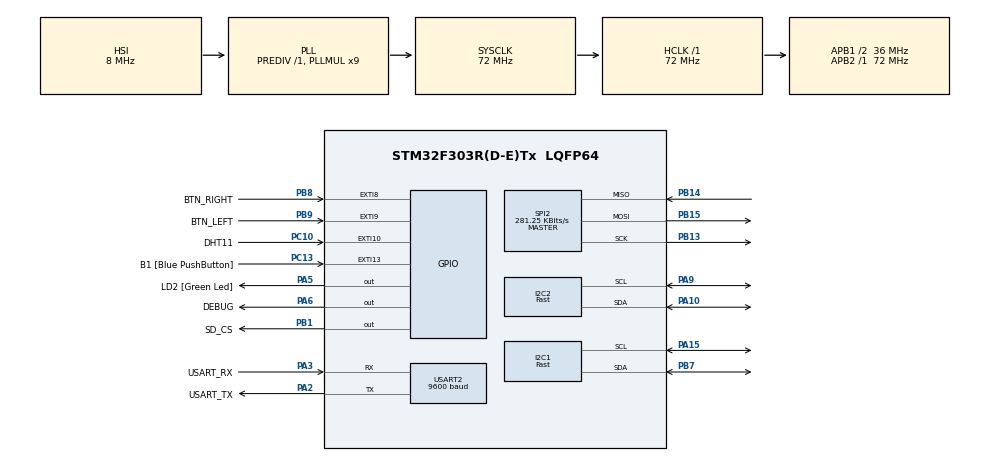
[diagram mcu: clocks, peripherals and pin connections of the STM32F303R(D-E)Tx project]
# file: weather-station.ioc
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Dma.I2C1_TX.1.Direction=DMA_MEMORY_TO_PERIPH
Dma.I2C1_TX.1.Instance=DMA1_Channel6
Dma.I2C1_TX.1.MemDataAlignment=DMA_MDATAALIGN_BYTE
Dma.I2C1_TX.1.MemInc=DMA_MINC_ENABLE
Dma.I2C1_TX.1.Mode=DMA_NORMAL
Dma.I2C1_TX.1.PeriphDataAlignment=DMA_PDATAALIGN_BYTE
Dma.I2C1_TX.1.PeriphInc=DMA_PINC_DISABLE
Dma.I2C1_TX.1.Priority=DMA_PRIORITY_LOW
Dma.I2C2_RX.3.Direction=DMA_PERIPH_TO_MEMORY
Dma.I2C2_RX.3.Instance=DMA1_Channel5
Dma.I2C2_RX.3.MemDataAlignment=DMA_MDATAALIGN_BYTE
Dma.I2C2_RX.3.MemInc=DMA_MINC_ENABLE
Dma.I2C2_RX.3.Mode=DMA_NORMAL
Dma.I2C2_RX.3.PeriphDataAlignment=DMA_PDATAALIGN_BYTE
Dma.I2C2_RX.3.PeriphInc=DMA_PINC_DISABLE
Dma.I2C2_RX.3.Priority=DMA_PRIORITY_LOW
Dma.I2C2_TX.2.Direction=DMA_MEMORY_TO_PERIPH
Dma.I2C2_TX.2.Instance=DMA1_Channel4
Dma.I2C2_TX.2.MemDataAlignment=DMA_MDATAALIGN_BYTE
Dma.I2C2_TX.2.MemInc=DMA_MINC_ENABLE
Dma.I2C2_TX.2.Mode=DMA_NORMAL
Dma.I2C2_TX.2.PeriphDataAlignment=DMA_PDATAALIGN_BYTE
Dma.I2C2_TX.2.PeriphInc=DMA_PINC_DISABLE
Dma.I2C2_TX.2.Priority=DMA_PRIORITY_LOW
Dma.Request0=USART2_TX
Dma.Request1=I2C1_TX
Dma.Request2=I2C2_TX
Dma.Request3=I2C2_RX
Dma.USART2_TX.0.Direction=DMA_MEMORY_TO_PERIPH
Dma.USART2_TX.0.Instance=DMA1_Channel7
Dma.USART2_TX.0.MemDataAlignment=DMA_MDATAALIGN_BYTE
Dma.USART2_TX.0.MemInc=DMA_MINC_ENABLE
Dma.USART2_TX.0.Mode=DMA_NORMAL
Dma.USART2_TX.0.PeriphDataAlignment=DMA_PDATAALIGN_BYTE
Dma.USART2_TX.0.PeriphInc=DMA_PINC_DISABLE
Dma.USART2_TX.0.Priority=DMA_PRIORITY_LOW
FATFS._FS_REENTRANT=0
FREERTOS.BinarySemaphores01=dht11StartSem,Dynamic,NULL;dataSavePendingSem,Dynamic,NULL;lps25hbStartSem,Dynamic,NULL
FREERTOS.Queues01=sdCardWriteQueue,8,DataPackage_t,0,Dynamic,NULL,NULL;buttonClickQueue,16,uint8_t,0,Dynamic,NULL,NULL;temperatureQueue,16,uint8_t,0,Dynamic,NULL,NULL;humidityQueue,16,uint8_t,0,Dynamic,NULL,NULL;displayQueue,8,DataPackage_t,0,Dynamic,NULL,NULL;pressureQueue,8,uint32_t,0,Dynamic,NULL,NULL
FREERTOS.Tasks01=displayTask,24,768,StartDisplayTask,As weak,NULL,Dynamic,NULL,NULL;sdcardTask,48,768,StartSDCardTask,As weak,NULL,Dynamic,NULL,NULL;buttonTask,8,200,StartButtonTask,As weak,NULL,Dynamic,NULL,NULL;dht11Task,8,128,StartDHT11Task,As weak,NULL,Dynamic,NULL,NULL;dataTask,8,200,StartDataTask,As weak,NULL,Dynamic,NULL,NULL;lps25hbTask,8,200,StartLPS25HBTask,As weak,NULL,Dynamic,NULL,NULL
FREERTOS.Timers01=sensorTimer,SensorTimerCallback,osTimerPeriodic,Default,NULL,Dynamic,NULL
FREERTOS.configGENERATE_RUN_TIME_STATS=1
FREERTOS.configRECORD_STACK_HIGH_ADDRESS=1
FREERTOS.configTOTAL_HEAP_SIZE=18000
FREERTOS.configUSE_IDLE_HOOK=1
FREERTOS.configUSE_NEWLIB_REENTRANT=1
I2C1.I2C_Speed_Mode=I2C_Fast
I2C1.Timing=0x0000020B
I2C2.I2C_Speed_Mode=I2C_Fast
I2C2.Timing=0x0000020B
Mcu.Family=STM32F3
Mcu.Name=STM32F303R(D-E)Tx
Mcu.Package=LQFP64
NVIC.DMA1_Channel4_IRQn=true\:5\:0\:false\:false\:true\:true\:false\:true\:true
NVIC.DMA1_Channel5_IRQn=true\:5\:0\:false\:false\:true\:true\:false\:true\:true
NVIC.DMA1_Channel6_IRQn=true\:5\:0\:true\:false\:true\:true\:false\:true\:true
NVIC.DMA1_Channel7_IRQn=true\:5\:0\:true\:false\:true\:true\:false\:true\:true
NVIC.EXTI15_10_IRQn=true\:15\:0\:true\:false\:true\:true\:true\:true\:true
NVIC.EXTI9_5_IRQn=true\:15\:0\:true\:false\:true\:true\:true\:true\:true
NVIC.I2C1_ER_IRQn=true\:5\:0\:false\:false\:true\:true\:true\:true\:true
NVIC.I2C1_EV_IRQn=true\:5\:0\:false\:false\:true\:true\:true\:true\:true
NVIC.I2C2_ER_IRQn=true\:5\:0\:false\:false\:true\:true\:true\:true\:true
NVIC.I2C2_EV_IRQn=true\:5\:0\:false\:false\:true\:true\:true\:true\:true
NVIC.PriorityGroup=NVIC_PRIORITYGROUP_4
NVIC.RTC_Alarm_IRQn=true\:14\:0\:true\:false\:true\:true\:true\:true\:true
NVIC.TIM6_DAC_IRQn=true\:15\:0\:false\:false\:true\:false\:false\:true\:true
NVIC.TimeBase=TIM6_DAC_IRQn
NVIC.TimeBaseIP=TIM6
NVIC.USART2_IRQn=true\:15\:0\:true\:false\:true\:true\:true\:true\:true
PA10.Mode=I2C
PA10.Signal=I2C2_SDA
PA13.GPIO_Label=TMS
PA13.Mode=Serial_Wire
PA13.Signal=SYS_JTMS-SWDIO
PA14.GPIO_Label=TCK
PA14.Mode=Serial_Wire
PA14.Signal=SYS_JTCK-SWCLK
PA15.GPIO_Pu=GPIO_PULLUP
PA15.Mode=I2C
PA15.Signal=I2C1_SCL
PA2.GPIO_Label=USART_TX
PA2.GPIO_Mode=GPIO_MODE_AF_PP
PA2.GPIO_PuPd=GPIO_NOPULL
PA2.GPIO_Speed=GPIO_SPEED_FREQ_LOW
PA2.Mode=Asynchronous
PA2.Signal=USART2_TX
PA3.GPIO_Label=USART_RX
PA3.GPIO_Mode=GPIO_MODE_AF_PP
PA3.GPIO_PuPd=GPIO_NOPULL
PA3.GPIO_Speed=GPIO_SPEED_FREQ_LOW
PA3.Mode=Asynchronous
PA3.Signal=USART2_RX
PA5.GPIO_Label=LD2 [Green Led]
PA5.GPIO_Mode=GPIO_MODE_OUTPUT_PP
PA5.GPIO_PuPd=GPIO_NOPULL
PA5.GPIO_Speed=GPIO_SPEED_FREQ_LOW
PA5.Signal=GPIO_Output
PA6.GPIO_Label=DEBUG
PA6.GPIO_Speed=GPIO_SPEED_FREQ_HIGH
PA6.PinState=GPIO_PIN_RESET
PA6.Signal=GPIO_Output
PA9.Mode=I2C
PA9.Signal=I2C2_SCL
PB1.GPIO_Label=SD_CS
PB1.Signal=GPIO_Output
PB13.Mode=Full_Duplex_Master
PB13.Signal=SPI2_SCK
PB14.Mode=Full_Duplex_Master
PB14.Signal=SPI2_MISO
PB15.Mode=Full_Duplex_Master
PB15.Signal=SPI2_MOSI
PB3.GPIO_Label=SWO
PB3.Signal=SYS_JTDO-TRACESWO
PB7.GPIO_Pu=GPIO_PULLUP
PB7.Mode=I2C
PB7.Signal=I2C1_SDA
PB8.GPIO_Label=BTN_RIGHT
PB8.GPIO_PuPd=GPIO_PULLUP
PB8.Signal=GPXTI8
PB9.GPIO_Label=BTN_LEFT
PB9.GPIO_PuPd=GPIO_PULLUP
PB9.Signal=GPXTI9
PC10.GPIO_Label=DHT11
PC10.GPIO_ModeDefaultEXTI=GPIO_MODE_IT_RISING_FALLING
PC10.Signal=GPXTI10
PC13.GPIO_Label=B1 [Blue PushButton]
PC13.GPIO_ModeDefaultEXTI=GPIO_MODE_IT_FALLING
PC13.Signal=GPXTI13
PC14-OSC32_IN.Mode=LSE-External-Oscillator
PC14-OSC32_IN.Signal=RCC_OSC32_IN
PC15-OSC32_OUT.Mode=LSE-External-Oscillator
PC15-OSC32_OUT.Signal=RCC_OSC32_OUT
PF0-OSC_IN.Mode=HSE-External-Clock-Source
PF0-OSC_IN.Signal=RCC_OSC_IN
PF1-OSC_OUT.Signal=RCC_OSC_OUT
ProjectManager.HeapSize=0x200
ProjectManager.StackSize=0x400
ProjectManager.TargetToolchain=STM32CubeIDE
RCC.AHBFreq_Value=72000000
RCC.APB1CLKDivider=RCC_HCLK_DIV2
RCC.APB1Freq_Value=36000000
RCC.APB1TimFreq_Value=72000000
RCC.APB2Freq_Value=72000000
RCC.APB2TimFreq_Value=72000000
RCC.CortexFreq_Value=72000000
RCC.HCLKFreq_Value=72000000
RCC.HSE_VALUE=8000000
RCC.HSI_VALUE=8000000
RCC.PLLM=8
RCC.PLLMUL=RCC_PLL_MUL9
RCC.PLLN=336
RCC.PLLP=RCC_PLLP_DIV4
RCC.PLLQ=7
RCC.RCC_PLLsource_Clock_Source_FROM_HSE=RCC_HSE_PREDIV_DIV2
RCC.RTCClockSelection=RCC_RTCCLKSOURCE_LSE
RCC.SYSCLKFreq_VALUE=72000000
RCC.SYSCLKSourceVirtual=RCC_SYSCLKSOURCE_PLLCLK
RCC.USBFreq_Value=72000000
RTC.Alarm-Alarm\ A=RTC_ALARM_A
RTC.AlarmMaskDateWeekDay-Alarm\ A=RTC_ALARMMASK_DATEWEEKDAY
RTC.AlarmMaskHours-Alarm\ A=RTC_ALARMMASK_HOURS
RTC.Date=29
RTC.Format=RTC_FORMAT_BIN
RTC.Minutes=29
RTC.Minutes_A-Alarm\ A=30
RTC.Month=RTC_MONTH_MAY
RTC.Year=22
SPI2.BaudRatePrescaler=SPI_BAUDRATEPRESCALER_128
SPI2.CalculateBaudRate=281.25 KBits/s
SPI2.DataSize=SPI_DATASIZE_8BIT
SPI2.Direction=SPI_DIRECTION_2LINES
SPI2.Mode=SPI_MODE_MASTER
SPI2.VirtualType=VM_MASTER
TIM7.Period=0xffff-1
TIM7.Prescaler=72-1
USART2.BaudRate=9600
USART2.VirtualMode-Asynchronous=VM_ASYNC
VP_FATFS_VS_Generic.Mode=User_defined
VP_FREERTOS_VS_CMSIS_V2.Mode=CMSIS_V2
VP_RTC_VS_RTC_Activate.Mode=RTC_Enabled
VP_RTC_VS_RTC_Alarm_A_Intern.Mode=Alarm A
VP_RTC_VS_RTC_Calendar.Mode=RTC_Calendar
VP_SYS_VS_tim6.Mode=TIM6
VP_TIM7_VS_ClockSourceINT.Mode=Enable_Timer
board=NUCLEO-F303RE

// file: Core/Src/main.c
/* USER CODE BEGIN Header */
/**
 ******************************************************************************
 * @file           : main.c
 * @brief          : Main program body
 ******************************************************************************
 * @attention
 *
 * Copyright (c) 2022 STMicroelectronics.
 * All rights reserved.
 *
 * This software is licensed under terms that can be found in the LICENSE file
 * in the root directory of this software component.
 * If no LICENSE file comes with this software, it is provided AS-IS.
 *
 ******************************************************************************
 */
/* USER CODE END Header */
#include "main.h"
#include "cmsis_os.h"
#include "fatfs.h"

/* USER CODE BEGIN Includes */
#include "application_tasks.h"
#include "ui.h"
/* USER CODE END Includes */

I2C_HandleTypeDef hi2c1;
I2C_HandleTypeDef hi2c2;
DMA_HandleTypeDef hdma_i2c1_tx;
DMA_HandleTypeDef hdma_i2c2_tx;
DMA_HandleTypeDef hdma_i2c2_rx;

RTC_HandleTypeDef hrtc;

SPI_HandleTypeDef hspi2;

TIM_HandleTypeDef htim7;

UART_HandleTypeDef huart2;
DMA_HandleTypeDef hdma_usart2_tx;

/* Definitions for displayTask */
osThreadId_t displayTaskHandle;
const osThreadAttr_t displayTask_attributes = { .name = "displayTask",
		.stack_size = 768 * 4, .priority = (osPriority_t) osPriorityNormal, };
/* Definitions for sdcardTask */
osThreadId_t sdcardTaskHandle;
const osThreadAttr_t sdcardTask_attributes = { .name = "sdcardTask",
		.stack_size = 768 * 4, .priority = (osPriority_t) osPriorityRealtime, };
/* Definitions for buttonTask */
osThreadId_t buttonTaskHandle;
const osThreadAttr_t buttonTask_attributes = { .name = "buttonTask",
		.stack_size = 200 * 4, .priority = (osPriority_t) osPriorityLow, };
/* Definitions for dht11Task */
osThreadId_t dht11TaskHandle;
const osThreadAttr_t dht11Task_attributes = { .name = "dht11Task", .stack_size =
		128 * 4, .priority = (osPriority_t) osPriorityLow, };
/* Definitions for dataTask */
osThreadId_t dataTaskHandle;
const osThreadAttr_t dataTask_attributes = { .name = "dataTask", .stack_size =
		200 * 4, .priority = (osPriority_t) osPriorityLow, };
/* Definitions for lps25hbTask */
osThreadId_t lps25hbTaskHandle;
const osThreadAttr_t lps25hbTask_attributes = { .name = "lps25hbTask",
		.stack_size = 200 * 4, .priority = (osPriority_t) osPriorityLow, };
/* Definitions for sdCardWriteQueue */
osMessageQueueId_t sdCardWriteQueueHandle;
const osMessageQueueAttr_t sdCardWriteQueue_attributes = { .name =
		"sdCardWriteQueue" };
/* Definitions for buttonClickQueue */
osMessageQueueId_t buttonClickQueueHandle;
const osMessageQueueAttr_t buttonClickQueue_attributes = { .name =
		"buttonClickQueue" };
/* Definitions for temperatureQueue */
osMessageQueueId_t temperatureQueueHandle;
const osMessageQueueAttr_t temperatureQueue_attributes = { .name =
		"temperatureQueue" };
/* Definitions for humidityQueue */
osMessageQueueId_t humidityQueueHandle;
const osMessageQueueAttr_t humidityQueue_attributes =
		{ .name = "humidityQueue" };
/* Definitions for displayQueue */
osMessageQueueId_t displayQueueHandle;
const osMessageQueueAttr_t displayQueue_attributes = { .name = "displayQueue" };
/* Definitions for pressureQueue */
osMessageQueueId_t pressureQueueHandle;
const osMessageQueueAttr_t pressureQueue_attributes =
		{ .name = "pressureQueue" };
/* Definitions for sensorTimer */
osTimerId_t sensorTimerHandle;
const osTimerAttr_t sensorTimer_attributes = { .name = "sensorTimer" };
/* Definitions for dht11StartSem */
osSemaphoreId_t dht11StartSemHandle;
const osSemaphoreAttr_t dht11StartSem_attributes = { .name = "dht11StartSem" };
/* Definitions for dataSavePendingSem */
osSemaphoreId_t dataSavePendingSemHandle;
const osSemaphoreAttr_t dataSavePendingSem_attributes = { .name =
		"dataSavePendingSem" };
/* Definitions for lps25hbStartSem */
osSemaphoreId_t lps25hbStartSemHandle;
const osSemaphoreAttr_t lps25hbStartSem_attributes =
		{ .name = "lps25hbStartSem" };
/* USER CODE BEGIN PV */

DHT11_TypeDef hdht;
LPS25HB_TypeDef hlps25hb;

/* USER CODE END PV */

void SystemClock_Config(void);
static void MX_GPIO_Init(void);
static void MX_DMA_Init(void);
static void MX_USART2_UART_Init(void);
static void MX_SPI2_Init(void);
static void MX_RTC_Init(void);
static void MX_I2C1_Init(void);
static void MX_TIM7_Init(void);
static void MX_I2C2_Init(void);
void StartDisplayTask(void *argument);
void StartSDCardTask(void *argument);
void StartButtonTask(void *argument);
void StartDHT11Task(void *argument);
void StartDataTask(void *argument);
void StartLPS25HBTask(void *argument);
void SensorTimerCallback(void *argument);

int main(void) {

	/* MCU Configuration--------------------------------------------------------*/

	/* Reset of all peripherals, Initializes the Flash interface and the Systick. */
	HAL_Init();

	/* Configure the system clock */
	SystemClock_Config();

	/* Initialize all configured peripherals */
	MX_GPIO_Init();
	MX_DMA_Init();
	MX_USART2_UART_Init();
	MX_SPI2_Init();
	MX_FATFS_Init();
	MX_RTC_Init();
	MX_I2C1_Init();
	MX_TIM7_Init();
	MX_I2C2_Init();

	/* Init scheduler */
	osKernelInitialize();

	/* Create the semaphores(s) */
	/* creation of dht11StartSem */
	dht11StartSemHandle = osSemaphoreNew(1, 1, &dht11StartSem_attributes);

	/* creation of dataSavePendingSem */
	dataSavePendingSemHandle = osSemaphoreNew(1, 1,
			&dataSavePendingSem_attributes);

	/* creation of lps25hbStartSem */
	lps25hbStartSemHandle = osSemaphoreNew(1, 1, &lps25hbStartSem_attributes);

	/* Create the timer(s) */
	/* creation of sensorTimer */
	sensorTimerHandle = osTimerNew(SensorTimerCallback, osTimerPeriodic, NULL,
			&sensorTimer_attributes);

	/* USER CODE BEGIN RTOS_TIMERS */
	/* start timers, add new ones, ... */
	osTimerStart(sensorTimerHandle, 3000);
	/* USER CODE END RTOS_TIMERS */

	/* Create the queue(s) */
	/* creation of sdCardWriteQueue */
	sdCardWriteQueueHandle = osMessageQueueNew(8, sizeof(DataPackage_t),
			&sdCardWriteQueue_attributes);

	/* creation of buttonClickQueue */
	buttonClickQueueHandle = osMessageQueueNew(16, sizeof(uint8_t),
			&buttonClickQueue_attributes);

	/* creation of temperatureQueue */
	temperatureQueueHandle = osMessageQueueNew(16, sizeof(uint8_t),
			&temperatureQueue_attributes);

	/* creation of humidityQueue */
	humidityQueueHandle = osMessageQueueNew(16, sizeof(uint8_t),
			&humidityQueue_attributes);

	/* creation of displayQueue */
	displayQueueHandle = osMessageQueueNew(8, sizeof(DataPackage_t),
			&displayQueue_attributes);

	/* creation of pressureQueue */
	pressureQueueHandle = osMessageQueueNew(8, sizeof(uint32_t),
			&pressureQueue_attributes);

	/* Create the thread(s) */
	/* creation of displayTask */
	displayTaskHandle = osThreadNew(StartDisplayTask, NULL,
			&displayTask_attributes);

	/* creation of sdcardTask */
	sdcardTaskHandle = osThreadNew(StartSDCardTask, NULL,
			&sdcardTask_attributes);

	/* creation of buttonTask */
	buttonTaskHandle = osThreadNew(StartButtonTask, NULL,
			&buttonTask_attributes);

	/* creation of dht11Task */
	dht11TaskHandle = osThreadNew(StartDHT11Task, NULL, &dht11Task_attributes);

	/* creation of dataTask */
	dataTaskHandle = osThreadNew(StartDataTask, NULL, &dataTask_attributes);

	/* creation of lps25hbTask */
	lps25hbTaskHandle = osThreadNew(StartLPS25HBTask, NULL,
			&lps25hbTask_attributes);

	/* Start scheduler */
	osKernelStart();

	/* We should never get here as control is now taken by the scheduler */
	/* Infinite loop */
	while (1) {

	}
}

void SystemClock_Config(void) {
	RCC_OscInitTypeDef RCC_OscInitStruct = { 0 };
	RCC_ClkInitTypeDef RCC_ClkInitStruct = { 0 };
	RCC_PeriphCLKInitTypeDef PeriphClkInit = { 0 };

	/** Configure LSE Drive Capability
	 */
	HAL_PWR_EnableBkUpAccess();
	__HAL_RCC_LSEDRIVE_CONFIG(RCC_LSEDRIVE_LOW);

	/** Initializes the RCC Oscillators according to the specified parameters
	 * in the RCC_OscInitTypeDef structure.
	 */
	RCC_OscInitStruct.OscillatorType = RCC_OSCILLATORTYPE_HSI
			| RCC_OSCILLATORTYPE_LSE;
	RCC_OscInitStruct.LSEState = RCC_LSE_ON;
	RCC_OscInitStruct.HSIState = RCC_HSI_ON;
	RCC_OscInitStruct.HSICalibrationValue = RCC_HSICALIBRATION_DEFAULT;
	RCC_OscInitStruct.PLL.PLLState = RCC_PLL_ON;
	RCC_OscInitStruct.PLL.PLLSource = RCC_PLLSOURCE_HSI;
	RCC_OscInitStruct.PLL.PLLMUL = RCC_PLL_MUL9;
	RCC_OscInitStruct.PLL.PREDIV = RCC_PREDIV_DIV1;
	if (HAL_RCC_OscConfig(&RCC_OscInitStruct) != HAL_OK) {
		Error_Handler();
	}

	/** Initializes the CPU, AHB and APB buses clocks
	 */
	RCC_ClkInitStruct.ClockType = RCC_CLOCKTYPE_HCLK | RCC_CLOCKTYPE_SYSCLK
			| RCC_CLOCKTYPE_PCLK1 | RCC_CLOCKTYPE_PCLK2;
	RCC_ClkInitStruct.SYSCLKSource = RCC_SYSCLKSOURCE_PLLCLK;
	RCC_ClkInitStruct.AHBCLKDivider = RCC_SYSCLK_DIV1;
	RCC_ClkInitStruct.APB1CLKDivider = RCC_HCLK_DIV2;
	RCC_ClkInitStruct.APB2CLKDivider = RCC_HCLK_DIV1;

	if (HAL_RCC_ClockConfig(&RCC_ClkInitStruct, FLASH_LATENCY_2) != HAL_OK) {
		Error_Handler();
	}
	PeriphClkInit.PeriphClockSelection = RCC_PERIPHCLK_USART2
			| RCC_PERIPHCLK_I2C1 | RCC_PERIPHCLK_I2C2 | RCC_PERIPHCLK_RTC;
	PeriphClkInit.Usart2ClockSelection = RCC_USART2CLKSOURCE_PCLK1;
	PeriphClkInit.I2c1ClockSelection = RCC_I2C1CLKSOURCE_HSI;
	PeriphClkInit.I2c2ClockSelection = RCC_I2C2CLKSOURCE_HSI;
	PeriphClkInit.RTCClockSelection = RCC_RTCCLKSOURCE_LSE;
	if (HAL_RCCEx_PeriphCLKConfig(&PeriphClkInit) != HAL_OK) {
		Error_Handler();
	}
}

static void MX_I2C1_Init(void) {

	hi2c1.Instance = I2C1;
	hi2c1.Init.Timing = 0x0000020B;
	hi2c1.Init.OwnAddress1 = 0;
	hi2c1.Init.AddressingMode = I2C_ADDRESSINGMODE_7BIT;
	hi2c1.Init.DualAddressMode = I2C_DUALADDRESS_DISABLE;
	hi2c1.Init.OwnAddress2 = 0;
	hi2c1.Init.OwnAddress2Masks = I2C_OA2_NOMASK;
	hi2c1.Init.GeneralCallMode = I2C_GENERALCALL_DISABLE;
	hi2c1.Init.NoStretchMode = I2C_NOSTRETCH_DISABLE;
	if (HAL_I2C_Init(&hi2c1) != HAL_OK) {
		Error_Handler();
	}

	/** Configure Analogue filter
	 */
	if (HAL_I2CEx_ConfigAnalogFilter(&hi2c1, I2C_ANALOGFILTER_ENABLE)
			!= HAL_OK) {
		Error_Handler();
	}

	/** Configure Digital filter
	 */
	if (HAL_I2CEx_ConfigDigitalFilter(&hi2c1, 0) != HAL_OK) {
		Error_Handler();
	}

}

static void MX_I2C2_Init(void) {

	hi2c2.Instance = I2C2;
	hi2c2.Init.Timing = 0x0000020B;
	hi2c2.Init.OwnAddress1 = 0;
	hi2c2.Init.AddressingMode = I2C_ADDRESSINGMODE_7BIT;
	hi2c2.Init.DualAddressMode = I2C_DUALADDRESS_DISABLE;
	hi2c2.Init.OwnAddress2 = 0;
	hi2c2.Init.OwnAddress2Masks = I2C_OA2_NOMASK;
	hi2c2.Init.GeneralCallMode = I2C_GENERALCALL_DISABLE;
	hi2c2.Init.NoStretchMode = I2C_NOSTRETCH_DISABLE;
	if (HAL_I2C_Init(&hi2c2) != HAL_OK) {
		Error_Handler();
	}

	/** Configure Analogue filter
	 */
	if (HAL_I2CEx_ConfigAnalogFilter(&hi2c2, I2C_ANALOGFILTER_ENABLE)
			!= HAL_OK) {
		Error_Handler();
	}

	/** Configure Digital filter
	 */
	if (HAL_I2CEx_ConfigDigitalFilter(&hi2c2, 0) != HAL_OK) {
		Error_Handler();
	}

}

static void MX_RTC_Init(void) {

	RTC_TimeTypeDef sTime = { 0 };
	RTC_DateTypeDef sDate = { 0 };
	RTC_AlarmTypeDef sAlarm = { 0 };

	/** Initialize RTC Only
	 */
	hrtc.Instance = RTC;
	hrtc.Init.HourFormat = RTC_HOURFORMAT_24;
	hrtc.Init.AsynchPrediv = 127;
	hrtc.Init.SynchPrediv = 255;
	hrtc.Init.OutPut = RTC_OUTPUT_DISABLE;
	hrtc.Init.OutPutPolarity = RTC_OUTPUT_POLARITY_HIGH;
	hrtc.Init.OutPutType = RTC_OUTPUT_TYPE_OPENDRAIN;
	if (HAL_RTC_Init(&hrtc) != HAL_OK) {
		Error_Handler();
	}

	/** Initialize RTC and set the Time and Date
	 */
	sTime.Hours = 0;
	sTime.Minutes = 29;
	sTime.Seconds = 0;
	sTime.DayLightSaving = RTC_DAYLIGHTSAVING_NONE;
	sTime.StoreOperation = RTC_STOREOPERATION_RESET;
	if (HAL_RTC_SetTime(&hrtc, &sTime, RTC_FORMAT_BIN) != HAL_OK) {
		Error_Handler();
	}
	sDate.WeekDay = RTC_WEEKDAY_MONDAY;
	sDate.Month = RTC_MONTH_MAY;
	sDate.Date = 29;
	sDate.Year = 22;

	if (HAL_RTC_SetDate(&hrtc, &sDate, RTC_FORMAT_BIN) != HAL_OK) {
		Error_Handler();
	}

	/** Enable the Alarm A
	 */
	sAlarm.AlarmTime.Hours = 0;
	sAlarm.AlarmTime.Minutes = 30;
	sAlarm.AlarmTime.Seconds = 0;
	sAlarm.AlarmTime.SubSeconds = 0;
	sAlarm.AlarmTime.DayLightSaving = RTC_DAYLIGHTSAVING_NONE;
	sAlarm.AlarmTime.StoreOperation = RTC_STOREOPERATION_RESET;
	sAlarm.AlarmMask = RTC_ALARMMASK_DATEWEEKDAY | RTC_ALARMMASK_HOURS;
	sAlarm.AlarmSubSecondMask = RTC_ALARMSUBSECONDMASK_ALL;
	sAlarm.AlarmDateWeekDaySel = RTC_ALARMDATEWEEKDAYSEL_DATE;
	sAlarm.AlarmDateWeekDay = 1;
	sAlarm.Alarm = RTC_ALARM_A;
	if (HAL_RTC_SetAlarm_IT(&hrtc, &sAlarm, RTC_FORMAT_BIN) != HAL_OK) {
		Error_Handler();
	}

}

static void MX_SPI2_Init(void) {

	/* SPI2 parameter configuration*/
	hspi2.Instance = SPI2;
	hspi2.Init.Mode = SPI_MODE_MASTER;
	hspi2.Init.Direction = SPI_DIRECTION_2LINES;
	hspi2.Init.DataSize = SPI_DATASIZE_8BIT;
	hspi2.Init.CLKPolarity = SPI_POLARITY_LOW;
	hspi2.Init.CLKPhase = SPI_PHASE_1EDGE;
	hspi2.Init.NSS = SPI_NSS_SOFT;
	hspi2.Init.BaudRatePrescaler = SPI_BAUDRATEPRESCALER_128;
	hspi2.Init.FirstBit = SPI_FIRSTBIT_MSB;
	hspi2.Init.TIMode = SPI_TIMODE_DISABLE;
	hspi2.Init.CRCCalculation = SPI_CRCCALCULATION_DISABLE;
	hspi2.Init.CRCPolynomial = 7;
	hspi2.Init.CRCLength = SPI_CRC_LENGTH_DATASIZE;
	hspi2.Init.NSSPMode = SPI_NSS_PULSE_ENABLE;
	if (HAL_SPI_Init(&hspi2) != HAL_OK) {
		Error_Handler();
	}

}

static void MX_TIM7_Init(void) {

	TIM_MasterConfigTypeDef sMasterConfig = { 0 };

	htim7.Instance = TIM7;
	htim7.Init.Prescaler = 72 - 1;
	htim7.Init.CounterMode = TIM_COUNTERMODE_UP;
	htim7.Init.Period = 0xffff - 1;
	htim7.Init.AutoReloadPreload = TIM_AUTORELOAD_PRELOAD_DISABLE;
	if (HAL_TIM_Base_Init(&htim7) != HAL_OK) {
		Error_Handler();
	}
	sMasterConfig.MasterOutputTrigger = TIM_TRGO_RESET;
	sMasterConfig.MasterSlaveMode = TIM_MASTERSLAVEMODE_DISABLE;
	if (HAL_TIMEx_MasterConfigSynchronization(&htim7, &sMasterConfig)
			!= HAL_OK) {
		Error_Handler();
	}

}

static void MX_USART2_UART_Init(void) {

	huart2.Instance = USART2;
	huart2.Init.BaudRate = 9600;
	huart2.Init.WordLength = UART_WORDLENGTH_8B;
	huart2.Init.StopBits = UART_STOPBITS_1;
	huart2.Init.Parity = UART_PARITY_NONE;
	huart2.Init.Mode = UART_MODE_TX_RX;
	huart2.Init.HwFlowCtl = UART_HWCONTROL_NONE;
	huart2.Init.OverSampling = UART_OVERSAMPLING_16;
	huart2.Init.OneBitSampling = UART_ONE_BIT_SAMPLE_DISABLE;
	huart2.AdvancedInit.AdvFeatureInit = UART_ADVFEATURE_NO_INIT;
	if (HAL_UART_Init(&huart2) != HAL_OK) {
		Error_Handler();
	}

}

static void MX_DMA_Init(void) {

	/* DMA controller clock enable */
	__HAL_RCC_DMA1_CLK_ENABLE();

	/* DMA interrupt init */
	/* DMA1_Channel4_IRQn interrupt configuration */
	HAL_NVIC_SetPriority(DMA1_Channel4_IRQn, 5, 0);
	HAL_NVIC_EnableIRQ(DMA1_Channel4_IRQn);
	/* DMA1_Channel5_IRQn interrupt configuration */
	HAL_NVIC_SetPriority(DMA1_Channel5_IRQn, 5, 0);
	HAL_NVIC_EnableIRQ(DMA1_Channel5_IRQn);
	/* DMA1_Channel6_IRQn interrupt configuration */
	HAL_NVIC_SetPriority(DMA1_Channel6_IRQn, 5, 0);
	HAL_NVIC_EnableIRQ(DMA1_Channel6_IRQn);
	/* DMA1_Channel7_IRQn interrupt configuration */
	HAL_NVIC_SetPriority(DMA1_Channel7_IRQn, 5, 0);
	HAL_NVIC_EnableIRQ(DMA1_Channel7_IRQn);

}

static void MX_GPIO_Init(void) {
	GPIO_InitTypeDef GPIO_InitStruct = { 0 };

	/* GPIO Ports Clock Enable */
	__HAL_RCC_GPIOC_CLK_ENABLE();
	__HAL_RCC_GPIOF_CLK_ENABLE();
	__HAL_RCC_GPIOA_CLK_ENABLE();
	__HAL_RCC_GPIOB_CLK_ENABLE();

	/*Configure GPIO pin Output Level */
	HAL_GPIO_WritePin(GPIOA, LD2_Pin | DEBUG_Pin, GPIO_PIN_RESET);

	/*Configure GPIO pin Output Level */
	HAL_GPIO_WritePin(SD_CS_GPIO_Port, SD_CS_Pin, GPIO_PIN_RESET);

	/*Configure GPIO pin : B1_Pin */
	GPIO_InitStruct.Pin = B1_Pin;
	GPIO_InitStruct.Mode = GPIO_MODE_IT_FALLING;
	GPIO_InitStruct.Pull = GPIO_NOPULL;
	HAL_GPIO_Init(B1_GPIO_Port, &GPIO_InitStruct);

	/*Configure GPIO pin : LD2_Pin */
	GPIO_InitStruct.Pin = LD2_Pin;
	GPIO_InitStruct.Mode = GPIO_MODE_OUTPUT_PP;
	GPIO_InitStruct.Pull = GPIO_NOPULL;
	GPIO_InitStruct.Speed = GPIO_SPEED_FREQ_LOW;
	HAL_GPIO_Init(LD2_GPIO_Port, &GPIO_InitStruct);

	/*Configure GPIO pin : DEBUG_Pin */
	GPIO_InitStruct.Pin = DEBUG_Pin;
	GPIO_InitStruct.Mode = GPIO_MODE_OUTPUT_PP;
	GPIO_InitStruct.Pull = GPIO_NOPULL;
	GPIO_InitStruct.Speed = GPIO_SPEED_FREQ_HIGH;
	HAL_GPIO_Init(DEBUG_GPIO_Port, &GPIO_InitStruct);

	/*Configure GPIO pin : SD_CS_Pin */
	GPIO_InitStruct.Pin = SD_CS_Pin;
	GPIO_InitStruct.Mode = GPIO_MODE_OUTPUT_PP;
	GPIO_InitStruct.Pull = GPIO_NOPULL;
	GPIO_InitStruct.Speed = GPIO_SPEED_FREQ_LOW;
	HAL_GPIO_Init(SD_CS_GPIO_Port, &GPIO_InitStruct);

	/*Configure GPIO pin : DHT11_Pin */
	GPIO_InitStruct.Pin = DHT11_Pin;
	GPIO_InitStruct.Mode = GPIO_MODE_IT_RISING_FALLING;
	GPIO_InitStruct.Pull = GPIO_NOPULL;
	HAL_GPIO_Init(DHT11_GPIO_Port, &GPIO_InitStruct);

	/*Configure GPIO pins : BTN_RIGHT_Pin BTN_LEFT_Pin */
	GPIO_InitStruct.Pin = BTN_RIGHT_Pin | BTN_LEFT_Pin;
	GPIO_InitStruct.Mode = GPIO_MODE_IT_RISING;
	GPIO_InitStruct.Pull = GPIO_PULLUP;
	HAL_GPIO_Init(GPIOB, &GPIO_InitStruct);

	/* EXTI interrupt init*/
	HAL_NVIC_SetPriority(EXTI9_5_IRQn, 15, 0);
	HAL_NVIC_EnableIRQ(EXTI9_5_IRQn);

	HAL_NVIC_SetPriority(EXTI15_10_IRQn, 15, 0);
	HAL_NVIC_EnableIRQ(EXTI15_10_IRQn);

}

/* USER CODE BEGIN 4 */
void HAL_UART_TxCpltCallback(UART_HandleTypeDef *huart) {
	if (huart == &huart2) {

	}
}

void HAL_I2C_MemTxCpltCallback(I2C_HandleTypeDef *hi2c) {
	if (hi2c == &hi2c2) {
		LPS25HB_WriteCpltIRQ(&hlps25hb);
	}
}

void HAL_I2C_MemRxCpltCallback(I2C_HandleTypeDef *hi2c) {
	if (hi2c == &hi2c2) {
		LPS25HB_ReadCpltIRQ(&hlps25hb);
	}
}

void ProcessClicksDebounced(uint16_t pin) {
	uint8_t btn_pressed = 0;

	if (pin == B1_Pin) {
		btn_pressed = BUTTON_OK_PRESSED;
		osMessageQueuePut(buttonClickQueueHandle, &btn_pressed, 0U, 0U);
	} else if (pin == BTN_LEFT_Pin) {
		btn_pressed = BUTTON_LEFT_PRESSED;
		osMessageQueuePut(buttonClickQueueHandle, &btn_pressed, 0U, 0U);
	} else if (pin == BTN_RIGHT_Pin) {
		btn_pressed = BUTTON_RIGHT_PRESSED;
		osMessageQueuePut(buttonClickQueueHandle, &btn_pressed, 0U, 0U);
	}
}

void HAL_GPIO_EXTI_Callback(uint16_t GPIO_Pin) {
	static uint32_t last_click = 0;
	uint32_t curr_click = HAL_GetTick();

	if (GPIO_Pin == DHT11_Pin) {
		DHT11_IRQHandler(&hdht);
	}

	// no overflow
	if (last_click < curr_click && curr_click - last_click > DEBOUNCE_MS) {
		ProcessClicksDebounced(GPIO_Pin);
	}
	// overflow
	else if (last_click > curr_click && last_click - curr_click > DEBOUNCE_MS) {
		ProcessClicksDebounced(GPIO_Pin);
	}

	last_click = HAL_GetTick();
}

void DHT11_RecieveCpltCallback(DHT11_TypeDef *dht) {
	uint8_t checksum = dht->data[4];
	uint8_t t_decimal = dht->data[3];
	uint8_t t_integral = dht->data[2];
	uint8_t rh_integral = dht->data[0];
	// rh decimal always 0 on dht11

	if (checksum == (t_decimal + t_integral + rh_integral)) {
		osMessageQueuePut(temperatureQueueHandle, &t_integral, 0, 0);
		osMessageQueuePut(humidityQueueHandle, &rh_integral, 0, 0);
	}
}

void LPS25HB_ReadCpltUserCallback(LPS25HB_TypeDef *lps25hb) {
	uint32_t valid_pressure = 0;

	if (lps25hb->read == LPS25HB_READ_PRESSURE) {
		valid_pressure = *lps25hb->pressure_buff / 4096;
		osMessageQueuePut(pressureQueueHandle, &valid_pressure, 0, 0);
	}
}

void HAL_RTC_AlarmAEventCallback(RTC_HandleTypeDef *hrtc) {
	osSemaphoreRelease(dataSavePendingSemHandle);
}

/* USER CODE END 4 */

__weak void StartDisplayTask(void *argument) {
	for (;;) {
		osDelay(1);
	}
}

__weak void StartSDCardTask(void *argument) {
	for (;;) {
		osDelay(1);
	}
}

__weak void StartButtonTask(void *argument) {
	for (;;) {
		osDelay(1);
	}
}

__weak void StartDHT11Task(void *argument) {
	for (;;) {
		osDelay(1);
	}
}

__weak void StartDataTask(void *argument) {
	for (;;) {
		osDelay(1);
	}
}

__weak void StartLPS25HBTask(void *argument) {
	for (;;) {
		osDelay(1);
	}
}

/* SensorTimerCallback function */
void SensorTimerCallback(void *argument) {
	/* USER CODE BEGIN SensorTimerCallback */
	osSemaphoreRelease(dht11StartSemHandle);
	osSemaphoreRelease(lps25hbStartSemHandle);
	/* USER CODE END SensorTimerCallback */
}

void HAL_TIM_PeriodElapsedCallback(TIM_HandleTypeDef *htim) {
	if (htim->Instance == TIM6) {
		HAL_IncTick();
	}
}

void Error_Handler(void) {
	__disable_irq();
	while (1) {
	}
}

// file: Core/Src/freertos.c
/* USER CODE BEGIN Header */
/**
 ******************************************************************************
 * File Name          : freertos.c
 * Description        : Code for freertos applications
 ******************************************************************************
 * @attention
 *
 * Copyright (c) 2022 STMicroelectronics.
 * All rights reserved.
 *
 * This software is licensed under terms that can be found in the LICENSE file
 * in the root directory of this software component.
 * If no LICENSE file comes with this software, it is provided AS-IS.
 *
 ******************************************************************************
 */
/* USER CODE END Header */

#include "FreeRTOS.h"
#include "task.h"
#include "main.h"

/* Hook prototypes */
void configureTimerForRunTimeStats(void);
unsigned long getRunTimeCounterValue(void);
void vApplicationIdleHook(void);

/* USER CODE BEGIN 1 */
/* Functions needed when configGENERATE_RUN_TIME_STATS is on */
__weak void configureTimerForRunTimeStats(void)
{

}

__weak unsigned long getRunTimeCounterValue(void)
{
return 0;
}
/* USER CODE END 1 */

/* USER CODE BEGIN 2 */
void vApplicationIdleHook(void) {
	/* vApplicationIdleHook() will only be called if configUSE_IDLE_HOOK is set
	 to 1 in FreeRTOSConfig.h. It will be called on each iteration of the idle
	 task. It is essential that code added to this hook function never attempts
	 to block in any way (for example, call xQueueReceive() with a block time
	 specified, or call vTaskDelay()). If the application makes use of the
	 vTaskDelete() API function (as this demo application does) then it is also
	 important that vApplicationIdleHook() is permitted to return to its calling
	 function, because it is the responsibility of the idle task to clean up
	 memory allocated by the kernel to any task that has since been deleted. */

	HAL_PWR_EnterSLEEPMode(PWR_MAINREGULATOR_ON, PWR_SLEEPENTRY_WFI);
}
/* USER CODE END 2 */
